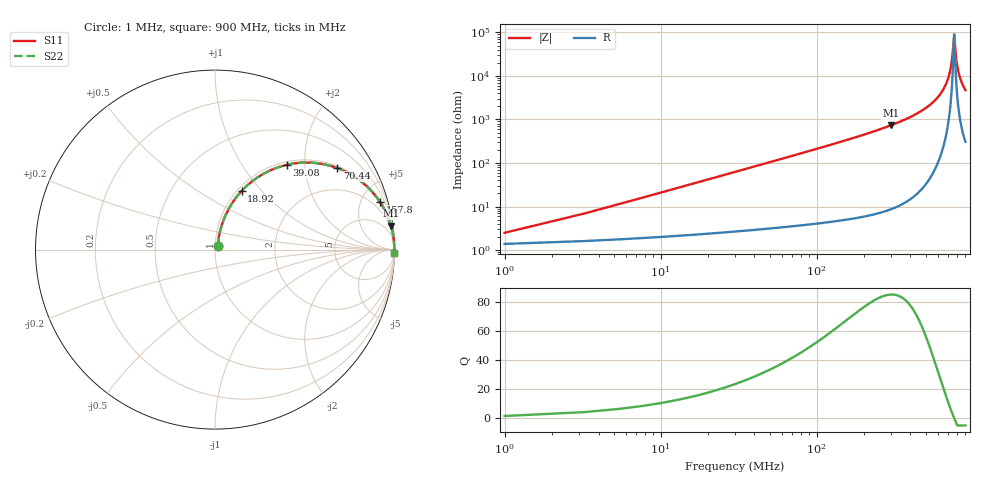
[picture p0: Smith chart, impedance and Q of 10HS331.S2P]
! Coilcraft 1008CS-331 Chip Inductor
! 02 July 2002
# MHZ S MA R 50
!Freq  MagS11  AngS11  MagS21  AngS21  MagS12  AngS12  MagS22  AngS22
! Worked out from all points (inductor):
!   403 points, 1 MHz to 900 MHz, reference 50 ohm
!   read as one part in series: L = 330 nH near 5.48 MHz
!   highest Q = 85 at 298.9 MHz (marker M1), where L = 390 nH
!   self-resonance near 762.6 MHz
!   S11 on the Smith chart (normalised r, x): 1 MHz: 1.03, +0.04; 18.92 MHz: 1.05, +0.79; 39.08 MHz: 1.06, +1.62; 70.44 MHz: 1.07, +2.95; 157.8 MHz: 1.10, +6.84; 900 MHz: 7, -95
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1  0.02458 55.1  0.9861 -1.2  0.9861 -1.2  0.02458 55.1
9.96  0.1994 73.0  0.9609 -11.4  0.9609 -11.4  0.1994 73.0
18.92  0.3588 65.6  0.9124 -21.0  0.9124 -21.0  0.3588 65.6
39.08  0.6201 49.7  0.7628 -38.3  0.7628 -38.3  0.6201 49.7
70.44  0.8184 33.7  0.5554 -54.9  0.5554 -54.9  0.8184 33.7
104.04  0.9039 24.3  0.4111 -64.7  0.4111 -64.7  0.9039 24.3
151.08  0.952 17.0  0.292 -72.2  0.292 -72.2  0.952 17.0
157.8  0.956 16.2  0.2796 -72.9  0.2796 -72.9  0.956 16.2
298.92  0.9892 7.8  0.1351 -81.6  0.1351 -81.6  0.9892 7.8
301.16  0.9894 7.7  0.1337 -81.6  0.1337 -81.6  0.9894 7.7
451.24  0.9966 4.0  0.06922 -85.2  0.06922 -85.2  0.9966 4.0
601.32  0.9986 1.7  0.03031 -86.5  0.03031 -86.5  0.9986 1.7
661.8  0.9988 1.0  0.018 -85.8  0.018 -85.8  0.9988 1.0
704.36  0.9989 0.6  0.0101 -83.5  0.0101 -83.5  0.9989 0.6
733.48  0.9989 0.3  0.005037 -77.4  0.005037 -77.4  0.9989 0.3
751.4  0.9989 0.1  0.002169 -59.5  0.002169 -59.5  0.9989 0.1
760.36  0.9989 0.0  0.00117 -18.6  0.00117 -18.6  0.9989 0.0
764.84  0.9989 -0.0  0.001175 18.2  0.001175 18.2  0.9989 -0.0
785  0.9988 -0.2  0.00383 72.4  0.00383 72.4  0.9988 -0.2
809.64  0.9988 -0.4  0.007654 80.6  0.007654 80.6  0.9988 -0.4
847.72  0.9987 -0.8  0.01344 83.9  0.01344 83.9  0.9987 -0.8
900  0.9984 -1.2  0.02105 85.1  0.02105 85.1  0.9984 -1.2
